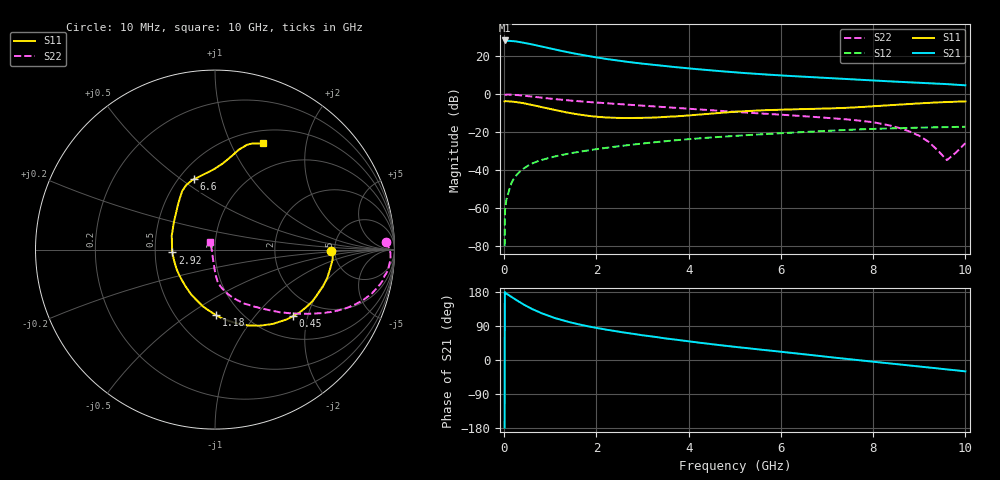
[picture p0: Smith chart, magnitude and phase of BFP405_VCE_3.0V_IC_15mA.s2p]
! Infineon Technologies  Discrete & RF Semiconductors
! BFP405
! VCE =  3.0 V,  IC =  15 mA
! Common Emitter S-Parameters:  Jan 2016
# GHz  S  MA  R  50
!  f  S11  S21  S12  S22
! GHz  MAG  ANG  MAG  ANG  MAG  ANG  MAG  ANG
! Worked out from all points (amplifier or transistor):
!   233 points, 10 MHz to 10 GHz, reference 50 ohm
!   highest |S21| = 28.3 dB at 10 MHz (marker M1)
!   |S21| within 3 dB of that: start of sweep to 777.7 MHz
!   unconditionally stable (mu >= 1): start of sweep to 17.72 MHz; 2.205 GHz to end of sweep
!   at 200 MHz: K = 0.20, MSG = 36.4 dB, |S12| = -44.9 dB
!   at 1.74 GHz: K = 0.88, MSG = 25.2 dB, |S12| = -29.9 dB
!   at 10 GHz: K = 1.36, MAG = 7.3 dB, |S12| = -17.1 dB
!   S11 on the Smith chart (normalised r, x): 10 MHz: 4.67, -0.16; 450 MHz: 1.47, -1.62; 1.18 GHz: 0.77, -0.65; 2.92 GHz: 0.62, -0.02; 6.6 GHz: 0.59, +0.56; 10 GHz: 0.65, +1.33
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0.01  0.6475 -0.9  26.03 -178.4  0.0001 16.0  0.9563 2.7
0.02  0.6562 -1.5  25.88 177.2  0.0009 98.8  0.9682 0.5
0.05  0.6578 -4.8  25.53 175.5  0.0017 95.9  0.9776 -1.0
0.1  0.6507 -9.2  25.51 171.1  0.0027 83.8  0.9795 -3.2
0.2  0.6354 -18.8  24.89 163.2  0.0057 81.3  0.9679 -7.2
0.32  0.6089 -29.6  23.85 154.0  0.0087 77.9  0.9441 -11.3
0.45  0.5716 -40.5  22.4 144.5  0.0116 73.7  0.9105 -15.3
0.6  0.5248 -52.1  20.57 134.9  0.0148 70.1  0.8687 -19.1
0.78  0.4684 -64.6  18.4 125.1  0.0181 67.1  0.8195 -22.7
1  0.4073 -78.4  16.01 114.8  0.0215 64.5  0.766 -26.3
1.18  0.3653 -89.0  14.35 107.9  0.0242 63.0  0.7278 -28.6
1.4  0.3244 -101.7  12.62 100.4  0.0273 61.7  0.6876 -31.0
1.68  0.2854 -116.6  10.87 92.5  0.0312 60.4  0.6447 -33.6
2.2  0.2455 -143.5  8.538 80.3  0.0386 58.2  0.5817 -37.8
2.92  0.2375 -176.1  6.548 66.8  0.0493 54.6  0.5101 -43.3
3.4  0.2486 165.5  5.653 58.8  0.0566 51.4  0.4653 -47.1
5.1  0.3514 123.5  3.695 33.4  0.0815 38.8  0.3372 -62.1
6.6  0.4095 106.5  2.844 13.8  0.103 27.3  0.259 -73.7
6.8  0.4142 103.3  2.754 11.2  0.1059 25.6  0.2489 -75.1
8.4  0.5174 81.0  2.169 -9.5  0.1263 10.8  0.1466 -88.0
9.6  0.6245 71.0  1.846 -24.9  0.1364 0.5  0.0184 -163.0
10  0.6482 65.8  1.716 -30.0  0.1391 -2.4  0.0516 120.6
